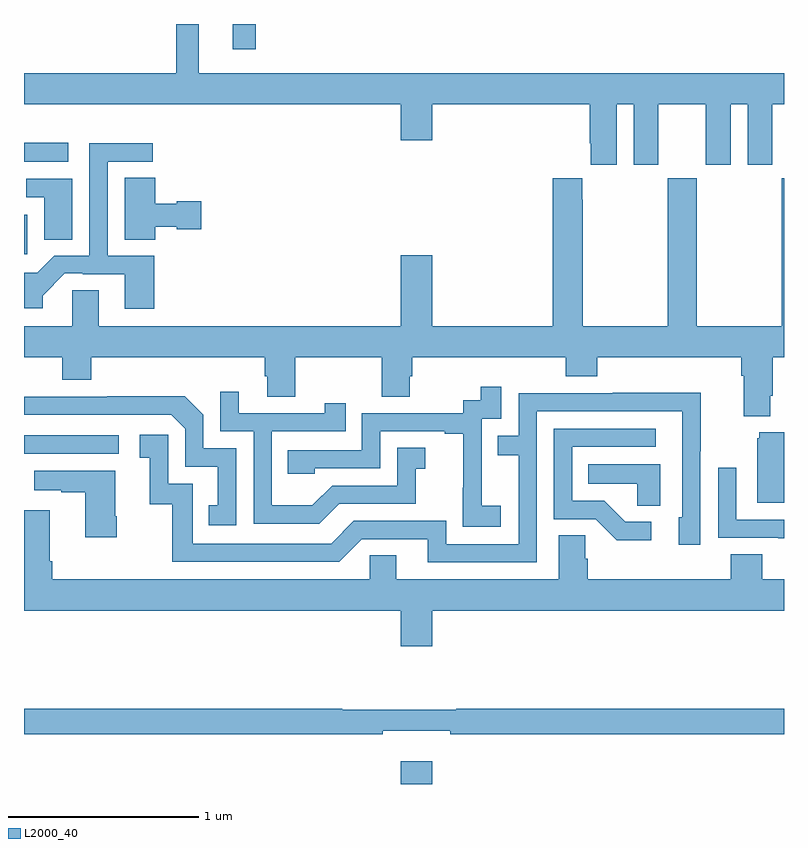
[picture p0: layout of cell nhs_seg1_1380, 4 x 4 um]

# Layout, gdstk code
import gdstk
lib = gdstk.Library(unit=1e-6, precision=1e-09)
def R(c, l, rs):  # rectangles x0, y0, x1, y1
    for r in rs: c.add(gdstk.rectangle(r[:2], r[2:], *l))
def P(c, l, *ps):  # polygons
    for p in ps: c.add(gdstk.Polygon(p, *l))
L2000_40 = (2000, 40)

nhs_seg1_1380 = lib.new_cell('nhs_seg1_1380')
R(nhs_seg1_1380, L2000_40, [(188.984,504.199,189.148,504.319), (187,505.938,187.498,506.034), (187,506.987,187.018,507.196), (187,507.473,187.234,507.574), (188.099,508.065,188.221,508.199)])
P(nhs_seg1_1380, L2000_40, [(190.12,507.776),(190.208,507.776),(190.208,507.459),(190.339,507.459),(190.339,507.776),(190.589,507.776),(190.589,507.459),(190.72,507.459),(190.72,507.776),(190.808,507.776),(190.808,507.459),(190.939,507.459),(190.939,507.776),(191,507.776),(191,507.94),(187.921,507.94),(187.921,508.199),(187.8,508.199),(187.8,507.94),(187,507.94),(187,507.776),(188.984,507.776),(188.984,507.588),(189.148,507.588),(189.148,507.776),(189.977,507.776),(189.977,507.571),(189.983,507.571),(189.983,507.459),(190.12,507.459)],
  [(187.685,506.979),(187.44,506.979),(187.44,507.474),(187.678,507.474),(187.678,507.572),(187.344,507.572),(187.344,506.979),(187.16,506.979),(187.07,506.889),(187,506.889),(187,506.702),(187.099,506.702),(187.099,506.77),(187.215,506.886),(187.309,506.886),(187.309,506.883),(187.529,506.883),(187.529,506.7),(187.685,506.7)],
  [(187.69,507.131),(187.803,507.131),(187.803,507.119),(187.933,507.119),(187.933,507.266),(187.803,507.266),(187.803,507.253),(187.69,507.253),(187.69,507.389),(187.529,507.389),(187.529,507.064),(187.69,507.064)],
  [(190.927,506.242),(190.94,506.242),(190.94,506.444),(191,506.444),(191,507.388),(190.987,507.388),(190.987,506.608),(190.542,506.608),(190.542,507.388),(190.387,507.388),(190.387,506.608),(189.942,506.608),(189.942,507.275),(189.937,507.275),(189.937,507.388),(189.782,507.388),(189.782,506.608),(189.148,506.608),(189.148,506.983),(188.984,506.983),(188.984,506.608),(187.393,506.608),(187.393,506.798),(187.254,506.798),(187.254,506.608),(187,506.608),(187,506.444),(187.202,506.444),(187.202,506.327),(187.355,506.327),(187.355,506.444),(188.267,506.444),(188.267,506.346),(188.279,506.346),(188.279,506.236),(188.427,506.236),(188.427,506.444),(188.884,506.444),(188.884,506.236),(189.031,506.236),(189.031,506.346),(189.044,506.346),(189.044,506.444),(189.851,506.444),(189.851,506.345),(190.016,506.345),(190.016,506.444),(190.775,506.444),(190.775,506.348),(190.787,506.348),(190.787,506.135),(190.927,506.135)],
  [(187.255,507.384),(187.013,507.384),(187.013,507.288),(187.106,507.288),(187.106,507.064),(187.255,507.064)],
  [(189.508,505.663),(189.41,505.663),(189.41,505.892),(189.408,505.892),(189.408,506.121),(189.513,506.121),(189.513,506.29),(189.405,506.29),(189.405,506.22),(189.312,506.22),(189.312,506.151),(188.778,506.151),(188.778,505.956),(188.389,505.956),(188.389,505.833),(188.529,505.833),(188.529,505.86),(188.874,505.86),(188.874,506.055),(189.215,506.055),(189.215,506.043),(189.311,506.043),(189.311,505.759),(189.31,505.759),(189.31,505.553),(189.508,505.553)],
  [(188.659,505.674),(189.063,505.674),(189.063,505.859),(189.112,505.859),(189.112,505.969),(188.964,505.969),(188.964,505.77),(188.622,505.77),(188.518,505.666),(188.304,505.666),(188.304,506.055),(188.693,506.055),(188.693,506.203),(188.582,506.203),(188.582,506.151),(188.131,506.151),(188.131,506.263),(188.034,506.263),(188.034,506.055),(188.208,506.055),(188.208,505.569),(188.554,505.569)],
  [(189.699,506.16),(190.464,506.16),(190.464,505.602),(190.445,505.602),(190.445,505.458),(190.56,505.458),(190.56,505.951),(190.563,505.951),(190.563,506.258),(190.099,506.258),(190.099,506.256),(189.603,506.256),(189.603,506.031),(189.493,506.031),(189.493,505.93),(189.603,505.93),(189.603,505.461),(189.222,505.461),(189.222,505.584),(188.736,505.584),(188.616,505.464),(187.887,505.464),(187.887,505.779),(187.758,505.779),(187.758,506.038),(187.608,506.038),(187.608,505.917),(187.661,505.917),(187.661,505.671),(187.779,505.671),(187.779,505.368),(188.658,505.368),(188.778,505.488),(189.125,505.488),(189.125,505.365),(189.699,505.365)],
  [(188.118,505.965),(187.944,505.965),(187.944,506.142),(187.846,506.24),(187.438,506.24),(187.438,506.238),(187,506.238),(187,506.142),(187.776,506.142),(187.848,506.07),(187.848,505.869),(188.021,505.869),(188.021,505.665),(187.972,505.665),(187.972,505.56),(188.118,505.56)],
  [(190.3,505.578),(190.165,505.578),(190.054,505.689),(189.885,505.689),(189.885,505.974),(190.324,505.974),(190.324,506.07),(189.789,506.07),(189.789,505.593),(190.008,505.593),(190.121,505.481),(190.3,505.481)],
  [(191,506.05),(190.871,506.05),(190.871,506.019),(190.859,506.019),(190.859,505.679),(191,505.679)],
  [(190.348,505.882),(189.97,505.882),(189.97,505.778),(190.227,505.778),(190.227,505.663),(190.348,505.663)],
  [(191,505.59),(190.749,505.59),(190.749,505.864),(190.653,505.864),(190.653,505.494),(190.969,505.494),(190.969,505.493),(191,505.493)],
  [(187.488,505.609),(187.48,505.609),(187.48,505.849),(187.053,505.849),(187.053,505.745),(187.196,505.745),(187.196,505.735),(187.322,505.735),(187.322,505.497),(187.488,505.497)],
  [(189.148,505.112),(191,505.112),(191,505.276),(190.886,505.276),(190.886,505.409),(190.721,505.409),(190.721,505.276),(189.968,505.276),(189.968,505.385),(189.954,505.385),(189.954,505.508),(189.815,505.508),(189.815,505.276),(188.959,505.276),(188.959,505.403),(188.82,505.403),(188.82,505.276),(187.148,505.276),(187.148,505.372),(187.135,505.372),(187.135,505.639),(187,505.639),(187,505.112),(188.984,505.112),(188.984,504.924),(189.148,504.924)],
  [(188.888,504.479),(189.244,504.479),(189.244,504.46),(191,504.46),(191,504.596),(189.274,504.596),(189.274,504.589),(188.674,504.589),(188.674,504.596),(187,504.596),(187,504.46),(188.888,504.46)])

lib.write_gds('nhs_seg1_1380.gds')
